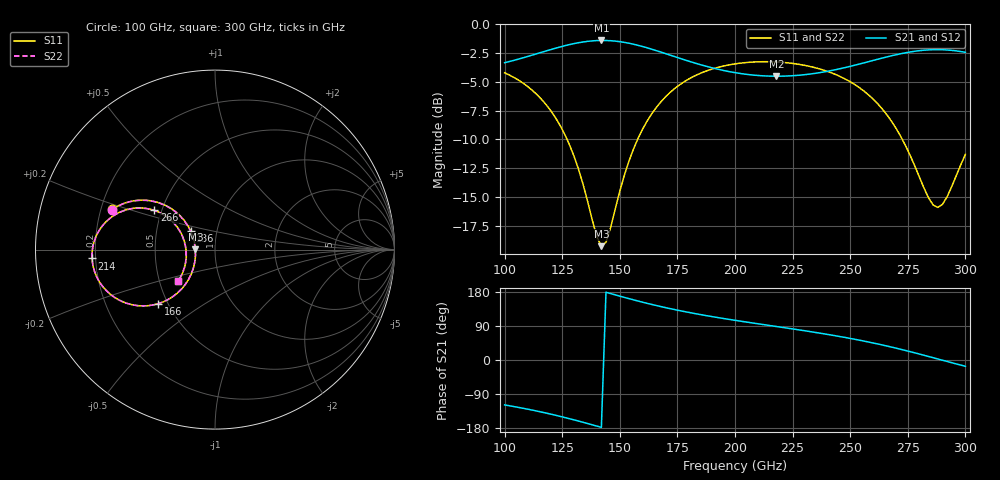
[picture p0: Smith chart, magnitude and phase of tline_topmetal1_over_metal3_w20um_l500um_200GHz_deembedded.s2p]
! Created with skrf 2.2.0 (http://scikit-rf.org).
# GHz S DB R 50.0
! Port[1] = P1
! Port[2] = P2
!freq dBS11 angS11 dBS21 angS21 dBS12 angS12 dBS22 angS22
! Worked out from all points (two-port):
!   101 points, 100 GHz to 300 GHz, reference 50 ohm
!   highest |S21| = -1.42 dB at 142 GHz (marker M1); lowest = -4.5 dB at 218 GHz (marker M2)
!   |S21| within 3 dB of the highest: start of sweep to 208 GHz; 228.5 GHz to end of sweep
!   lowest |S11| = -19.2 dB at 142 GHz (marker M3), VSWR 1.24, Z = 40.2 + j0.211 ohm
!   |S11| at or under -10 dB: 127.1 GHz to 157.7 GHz (30.61 GHz wide, 21.5 % of centre); 272.6 GHz to end of sweep
!   |S22| runs from -19.2 to -3.3 dB; largest |S21 - S12| = 1.4e-14
!   S11 on the Smith chart (normalised r, x): 100 GHz: 0.25, +0.18; 136 GHz: 0.75, +0.16; 166 GHz: 0.44, -0.33; 214 GHz: 0.19, -0.03; 266 GHz: 0.46, +0.24; 300 GHz: 0.62, -0.24
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100  -4.22 158.7  -3.35 -118.5  -3.35 -118.5  -4.22 158.7
120  -7.50 141.0  -2.22 -142.8  -2.22 -142.8  -7.50 141.1
128  -10.39 136.1  -1.79 -154.6  -1.79 -154.6  -10.38 136.3
134  -13.85 138.4  -1.56 -164.3  -1.56 -164.3  -13.83 138.7
136  -15.34 142.4  -1.50 -167.6  -1.50 -167.6  -15.31 142.7
142  -19.25 178.6  -1.42 -177.8  -1.42 -177.8  -19.18 178.8
144  -18.92 -163.1  -1.43 178.8  -1.43 178.8  -18.85 -163.2
156  -10.80 -130.3  -1.75 158.7  -1.75 158.7  -10.78 -130.4
166  -7.19 -136.4  -2.31 143.5  -2.31 143.5  -7.18 -136.4
168  -6.71 -138.1  -2.44 140.7  -2.44 140.7  -6.70 -138.2
182  -4.54 -150.8  -3.35 123.2  -3.35 123.2  -4.54 -150.8
200  -3.45 -165.6  -4.21 104.7  -4.21 104.7  -3.45 -165.5
214  -3.27 -175.9  -4.51 92.0  -4.51 92.0  -3.26 -175.8
218  -3.29 -178.8  -4.52 88.4  -4.52 88.4  -3.29 -178.7
234  -3.74 169.7  -4.30 73.6  -4.30 73.6  -3.74 169.8
252  -5.24 156.3  -3.57 54.6  -3.57 54.6  -5.24 156.4
266  -7.89 147.1  -2.85 36.8  -2.85 36.8  -7.88 147.3
268  -8.45 146.3  -2.75 34.0  -2.75 34.0  -8.44 146.5
284  -15.06 164.9  -2.24 9.3  -2.24 9.3  -15.01 165.1
288  -15.89 -175.6  -2.22 2.8  -2.22 2.8  -15.83 -175.5
292  -14.99 -156.4  -2.25 -3.8  -2.25 -3.8  -14.94 -156.4
300  -11.29 -139.3  -2.45 -16.6  -2.45 -16.6  -11.27 -139.4
